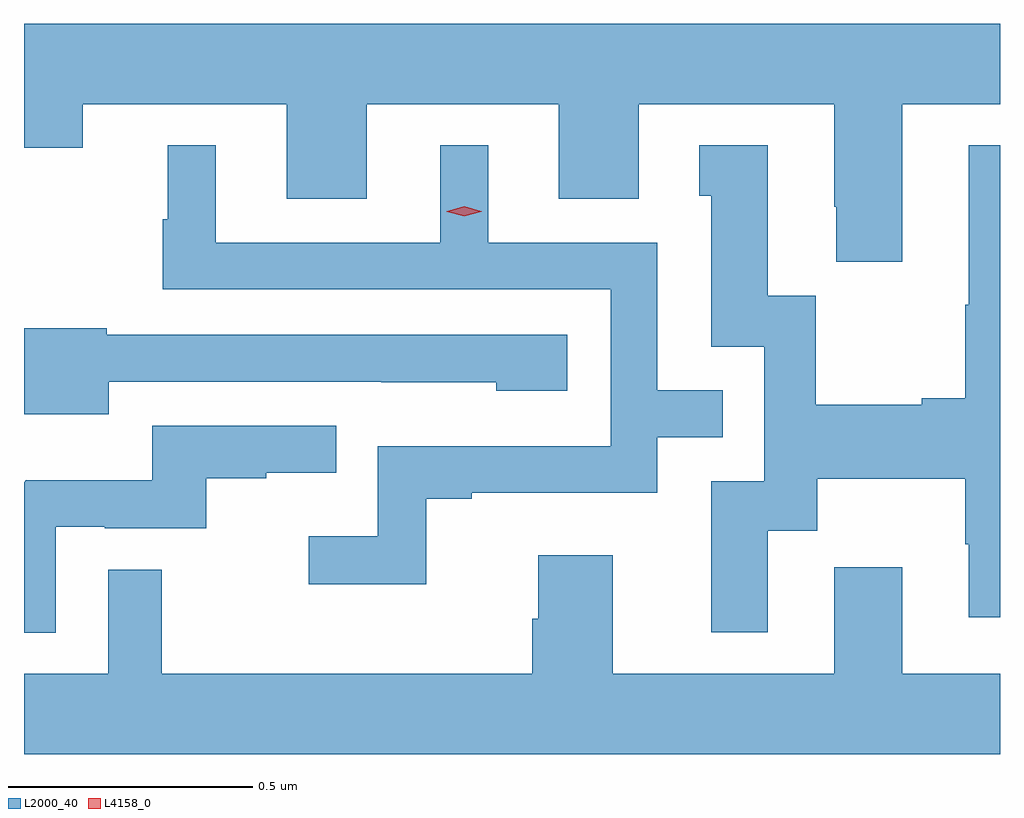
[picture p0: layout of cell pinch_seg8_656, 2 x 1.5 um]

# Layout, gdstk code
import gdstk
lib = gdstk.Library(unit=1e-6, precision=1e-09)
def P(c, l, *ps):  # polygons
    for p in ps: c.add(gdstk.Polygon(p, *l))
L2000_40 = (2000, 40)
L4158_0 = (4158, 0)

pinch_seg8_656 = lib.new_cell('pinch_seg8_656')
P(pinch_seg8_656, L2000_40, [(353.173,1100.516),(353.373,1100.516),(353.373,1100.68),(351.373,1100.68),(351.373,1100.426),(351.493,1100.426),(351.493,1100.516),(351.911,1100.516),(351.911,1100.322),(352.075,1100.322),(352.075,1100.516),(352.469,1100.516),(352.469,1100.322),(352.633,1100.322),(352.633,1100.516),(353.033,1100.516),(353.033,1100.305),(353.037,1100.305),(353.037,1100.193),(353.173,1100.193)],
  [(352.197,1099.707),(352.291,1099.707),(352.291,1099.719),(352.671,1099.719),(352.671,1099.833),(352.805,1099.833),(352.805,1099.929),(352.671,1099.929),(352.671,1100.232),(352.324,1100.232),(352.324,1100.431),(352.226,1100.431),(352.226,1100.232),(351.766,1100.232),(351.766,1100.431),(351.668,1100.431),(351.668,1100.28),(351.657,1100.28),(351.657,1100.136),(352.575,1100.136),(352.575,1099.815),(352.098,1099.815),(352.098,1099.63),(351.957,1099.63),(351.957,1099.532),(352.197,1099.532)],
  [(352.897,1099.642),(352.999,1099.642),(352.999,1099.748),(353.302,1099.748),(353.302,1099.614),(353.309,1099.614),(353.309,1099.464),(353.373,1099.464),(353.373,1100.431),(353.309,1100.431),(353.309,1100.105),(353.302,1100.105),(353.302,1099.913),(353.213,1099.913),(353.213,1099.9),(352.995,1099.9),(352.995,1100.123),(352.897,1100.123),(352.897,1100.431),(352.757,1100.431),(352.757,1100.328),(352.781,1100.328),(352.781,1100.019),(352.89,1100.019),(352.89,1099.743),(352.781,1099.743),(352.781,1099.434),(352.897,1099.434)],
  [(351.547,1099.947),(352.105,1099.947),(352.105,1099.946),(352.341,1099.946),(352.341,1099.928),(352.486,1099.928),(352.486,1100.043),(351.543,1100.043),(351.543,1100.056),(351.373,1100.056),(351.373,1099.88),(351.547,1099.88)],
  [(351.438,1099.65),(351.538,1099.65),(351.538,1099.647),(351.746,1099.647),(351.746,1099.749),(351.869,1099.749),(351.869,1099.76),(352.013,1099.76),(352.013,1099.857),(351.636,1099.857),(351.636,1099.745),(351.377,1099.745),(351.373,1099.741),(351.373,1099.433),(351.438,1099.433)],
  [(353.373,1099.348),(353.173,1099.348),(353.173,1099.567),(353.033,1099.567),(353.033,1099.348),(352.579,1099.348),(352.579,1099.591),(352.427,1099.591),(352.427,1099.461),(352.415,1099.461),(352.415,1099.348),(351.655,1099.348),(351.655,1099.562),(351.546,1099.562),(351.546,1099.348),(351.373,1099.348),(351.373,1099.184),(353.373,1099.184)])
P(pinch_seg8_656, L4158_0, [(352.275,1100.286),(352.239,1100.295),(352.239,1100.296),(352.239,1100.296),(352.275,1100.306),(352.31,1100.296),(352.311,1100.296),(352.31,1100.295)])

lib.write_gds('pinch_seg8_656.gds')
